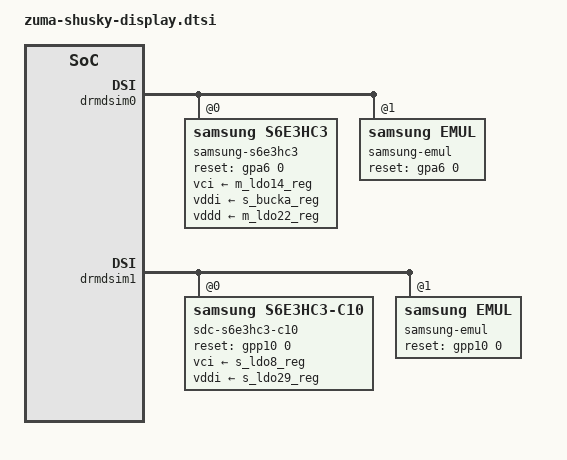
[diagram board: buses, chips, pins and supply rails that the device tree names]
// SPDX-License-Identifier: GPL-2.0-only
/*
 * Display nodes for slider-related boards.
 *
 * Copyright 2022 Google LLC
 *
 */

#include <dt-bindings/gpio/gpio.h>

&dsim_modes {
	dsim-modes {
		1008x2244 {
			mode-name = "1008x2244";
			pmsk = <
				0x1 0x6F 0x2 0x5400 /* p m s k */
				>;
			hs-clk = <1368>;
			esc-clk = <20>;
		};
		1080x2400 {
			mode-name = "1080x2400";
			pmsk = <
				0x2 0xf6 0x3 0x1800 /* p m s k */
				>;
			hs-clk = <756>;
			esc-clk = <20>;
		};
		1344x2992 {
			mode-name = "1344x2992";
			pmsk = <
				0x1 0x6F 0x2 0x5400 /* p m s k */
				>;
			hs-clk = <1368>;
			esc-clk = <20>;
		};
	};
};

&drmdsim0 {
	#address-cells = <1>;
	#size-cells = <0>;

	panel@0 {
		compatible = "samsung,s6e3hc3";
		label = "samsung-s6e3hc3";
		channel = <0>;

		/* reset, power */
		reset-gpios = <&gpa6 0 GPIO_ACTIVE_HIGH>;
		vci-supply = <&m_ldo14_reg>;
		vddi-supply = <&s_bucka_reg>;
		vddd-supply = <&m_ldo22_reg>;
	};
	panel@1 {
		compatible = "samsung,emul";
		label = "samsung-emul";
		channel = <0>;

		/* reset, power */
		reset-gpios = <&gpa6 0 GPIO_ACTIVE_HIGH>;
	};
};

&drmdsim1 {
	#address-cells = <1>;
	#size-cells = <0>;
	status = "okay";

	panel@0 {
		compatible = "samsung,s6e3hc3-c10";
		label = "sdc-s6e3hc3-c10";
		channel = <0>;

		/* reset, power */
		reset-gpios = <&gpp10 0 GPIO_ACTIVE_HIGH>;
		vci-supply = <&s_ldo8_reg>;
		vddi-supply = <&s_ldo29_reg>;
	};
	panel@1 {
		compatible = "samsung,emul";
		label = "samsung-emul";
		channel = <0>;

		/* reset, power */
		reset-gpios = <&gpp10 0 GPIO_ACTIVE_HIGH>;
	};
};
